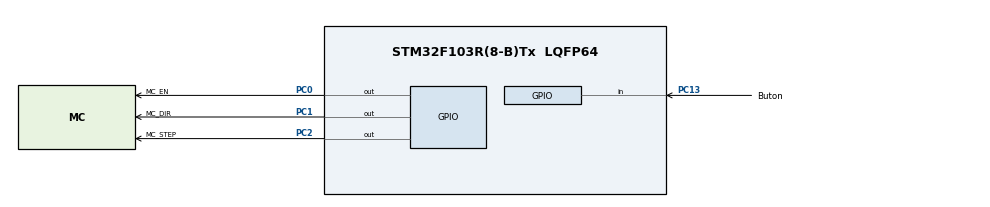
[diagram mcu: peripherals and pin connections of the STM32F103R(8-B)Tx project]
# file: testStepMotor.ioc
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Mcu.Family=STM32F1
Mcu.Name=STM32F103R(8-B)Tx
Mcu.Package=LQFP64
NVIC.PriorityGroup=NVIC_PRIORITYGROUP_4
PA13.Mode=Serial_Wire
PA13.Signal=SYS_JTMS-SWDIO
PA14.Mode=Serial_Wire
PA14.Signal=SYS_JTCK-SWCLK
PC0.GPIO_Label=MC_EN
PC0.GPIO_PuPd=GPIO_PULLUP
PC0.PinState=GPIO_PIN_SET
PC0.Signal=GPIO_Output
PC1.GPIO_Label=MC_DIR
PC1.GPIO_PuPd=GPIO_PULLDOWN
PC1.Signal=GPIO_Output
PC13-TAMPER-RTC.GPIO_Label=Buton
PC13-TAMPER-RTC.GPIO_PuPd=GPIO_PULLUP
PC13-TAMPER-RTC.Signal=GPIO_Input
PC14-OSC32_IN.Mode=LSE-External-Oscillator
PC14-OSC32_IN.Signal=RCC_OSC32_IN
PC15-OSC32_OUT.Mode=LSE-External-Oscillator
PC15-OSC32_OUT.Signal=RCC_OSC32_OUT
PC2.GPIO_Label=MC_STEP
PC2.GPIO_PuPd=GPIO_PULLDOWN
PC2.Signal=GPIO_Output
ProjectManager.HeapSize=0x200
ProjectManager.StackSize=0x400
ProjectManager.TargetToolchain=MDK-ARM V5.32
RCC.APB1Freq_Value=8000000
RCC.APB2Freq_Value=8000000
board=custom

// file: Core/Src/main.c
/* USER CODE BEGIN Header */
/**
 ******************************************************************************
 * @file           : main.c
 * @brief          : Main program body
 ******************************************************************************
 * @attention
 *
 * Copyright (c) 2023 STMicroelectronics.
 * All rights reserved.
 *
 * This software is licensed under terms that can be found in the LICENSE file
 * in the root directory of this software component.
 * If no LICENSE file comes with this software, it is provided AS-IS.
 *
 ******************************************************************************
 */
/* USER CODE END Header */
#include "main.h"
#include "gpio.h"

void SystemClock_Config(void);

int main(void)
{

  /* MCU Configuration--------------------------------------------------------*/

  /* Reset of all peripherals, Initializes the Flash interface and the Systick. */
  HAL_Init();

  /* Configure the system clock */
  SystemClock_Config();

  /* Initialize all configured peripherals */
  MX_GPIO_Init();
  /* USER CODE BEGIN 2 */
  // 电机使能
  HAL_GPIO_WritePin(MC_EN_GPIO_Port, MC_EN_Pin, GPIO_PIN_RESET);
  // 电机转200步，如果是1.8°的电机在整步模式下则正好一圈
  for (uint16_t i = 200; i; i--)
  {
    HAL_GPIO_WritePin(MC_STEP_GPIO_Port, MC_STEP_Pin, GPIO_PIN_SET);
    HAL_Delay(0);
    HAL_GPIO_WritePin(MC_STEP_GPIO_Port, MC_STEP_Pin, GPIO_PIN_RESET);
    HAL_Delay(0);
  }
  // 关闭使能
  HAL_GPIO_WritePin(MC_EN_GPIO_Port, MC_EN_Pin, GPIO_PIN_SET);
  /* USER CODE END 2 */

  /* Infinite loop */
  /* USER CODE BEGIN WHILE */
  while (1)
  {
    // 蓝色安按键 按一次走一步
    if (HAL_GPIO_ReadPin(Buton_GPIO_Port, Buton_Pin) == GPIO_PIN_RESET)
    {
      // 去抖动
      HAL_Delay(10);
      if (HAL_GPIO_ReadPin(Buton_GPIO_Port, Buton_Pin) == GPIO_PIN_RESET)
      {
        // 开使能
        HAL_GPIO_WritePin(MC_EN_GPIO_Port, MC_EN_Pin, GPIO_PIN_RESET);
        for (uint16_t i = 1; i; i--)
        {
          HAL_GPIO_WritePin(MC_STEP_GPIO_Port, MC_STEP_Pin, GPIO_PIN_SET);
          HAL_Delay(0);
          HAL_GPIO_WritePin(MC_STEP_GPIO_Port, MC_STEP_Pin, GPIO_PIN_RESET);
          HAL_Delay(0);
        }

        uint32_t tmp_cnt = 0;
        // 按键未抬起则保持不动，实现按一次只动一次
        // 若保持1s，则关闭使能：即长按解锁
        while (HAL_GPIO_ReadPin(Buton_GPIO_Port, Buton_Pin) == GPIO_PIN_RESET)
        {
          if (tmp_cnt++ > 1000)
          {
            // 关使能
            HAL_GPIO_WritePin(MC_EN_GPIO_Port, MC_EN_Pin, GPIO_PIN_SET);
          }

          HAL_Delay(0);
        }
      }
    }
    /* USER CODE END WHILE */

  }
}

void SystemClock_Config(void)
{
  RCC_OscInitTypeDef RCC_OscInitStruct = {0};
  RCC_ClkInitTypeDef RCC_ClkInitStruct = {0};

  /** Initializes the RCC Oscillators according to the specified parameters
   * in the RCC_OscInitTypeDef structure.
   */
  RCC_OscInitStruct.OscillatorType      = RCC_OSCILLATORTYPE_HSI;
  RCC_OscInitStruct.HSIState            = RCC_HSI_ON;
  RCC_OscInitStruct.HSICalibrationValue = RCC_HSICALIBRATION_DEFAULT;
  RCC_OscInitStruct.PLL.PLLState        = RCC_PLL_NONE;
  if (HAL_RCC_OscConfig(&RCC_OscInitStruct) != HAL_OK)
  {
    Error_Handler();
  }

  /** Initializes the CPU, AHB and APB buses clocks
   */
  RCC_ClkInitStruct.ClockType =
      RCC_CLOCKTYPE_HCLK | RCC_CLOCKTYPE_SYSCLK | RCC_CLOCKTYPE_PCLK1 | RCC_CLOCKTYPE_PCLK2;
  RCC_ClkInitStruct.SYSCLKSource   = RCC_SYSCLKSOURCE_HSI;
  RCC_ClkInitStruct.AHBCLKDivider  = RCC_SYSCLK_DIV1;
  RCC_ClkInitStruct.APB1CLKDivider = RCC_HCLK_DIV1;
  RCC_ClkInitStruct.APB2CLKDivider = RCC_HCLK_DIV1;

  if (HAL_RCC_ClockConfig(&RCC_ClkInitStruct, FLASH_LATENCY_0) != HAL_OK)
  {
    Error_Handler();
  }
}

void Error_Handler(void)
{
  __disable_irq();
  while (1)
  {
  }
}
